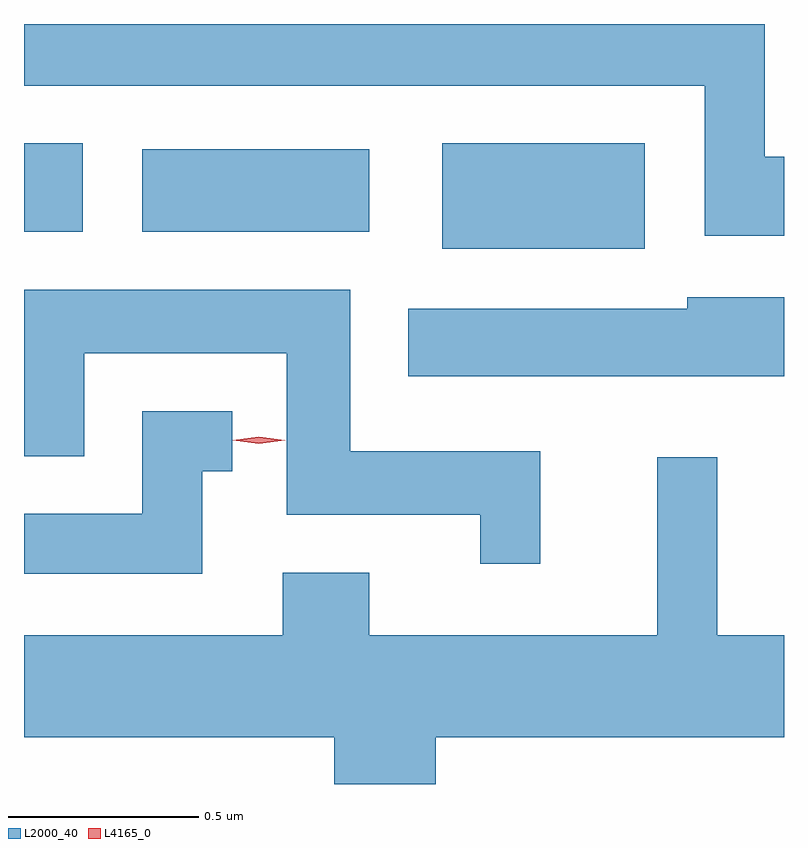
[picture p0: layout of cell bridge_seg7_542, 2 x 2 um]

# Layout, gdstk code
import gdstk
lib = gdstk.Library(unit=1e-6, precision=1e-09)
def R(c, l, rs):  # rectangles x0, y0, x1, y1
    for r in rs: c.add(gdstk.rectangle(r[:2], r[2:], *l))
def P(c, l, *ps):  # polygons
    for p in ps: c.add(gdstk.Polygon(p, *l))
L2000_40 = (2000, 40)
L4165_0 = (4165, 0)

bridge_seg7_542 = lib.new_cell('bridge_seg7_542')
R(bridge_seg7_542, L2000_40, [(854.721,1782.201,855.254,1782.479), (853.62,1782.246,853.774,1782.479), (853.931,1782.246,854.529,1782.464)])
P(bridge_seg7_542, L2000_40, [(855.62,1782.444),(855.569,1782.444),(855.569,1782.793),(853.62,1782.793),(853.62,1782.631),(855.411,1782.631),(855.411,1782.236),(855.62,1782.236)],
  [(854.979,1781.669),(854.479,1781.669),(854.479,1782.094),(853.62,1782.094),(853.62,1781.656),(853.779,1781.656),(853.779,1781.926),(854.311,1781.926),(854.311,1781.501),(854.821,1781.501),(854.821,1781.373),(854.979,1781.373)],
  [(855.62,1782.074),(855.366,1782.074),(855.366,1782.044),(854.631,1782.044),(854.631,1781.866),(855.62,1781.866)],
  [(854.089,1781.616),(854.168,1781.616),(854.168,1781.774),(853.931,1781.774),(853.931,1781.504),(853.62,1781.504),(853.62,1781.346),(854.089,1781.346)],
  [(854.704,1780.916),(855.62,1780.916),(855.62,1781.184),(855.444,1781.184),(855.444,1781.653),(855.286,1781.653),(855.286,1781.184),(854.529,1781.184),(854.529,1781.349),(854.301,1781.349),(854.301,1781.184),(853.62,1781.184),(853.62,1780.916),(854.436,1780.916),(854.436,1780.793),(854.704,1780.793)])
P(bridge_seg7_542, L4165_0, [(854.238,1781.688),(854.169,1781.697),(854.169,1781.697),(854.169,1781.698),(854.238,1781.707),(854.308,1781.698),(854.308,1781.698),(854.308,1781.697)])

lib.write_gds('bridge_seg7_542.gds')
